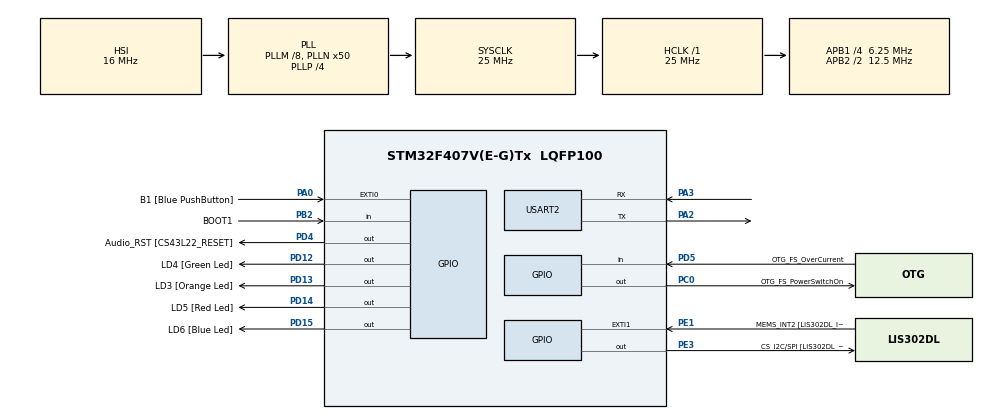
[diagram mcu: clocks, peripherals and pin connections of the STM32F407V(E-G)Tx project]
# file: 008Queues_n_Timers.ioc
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Mcu.Family=STM32F4
Mcu.Name=STM32F407V(E-G)Tx
Mcu.Package=LQFP100
NVIC.PriorityGroup=NVIC_PRIORITYGROUP_4
NVIC.TIM6_DAC_IRQn=true\:0\:0\:false\:false\:true\:false\:true\:true
NVIC.TimeBase=TIM6_DAC_IRQn
NVIC.TimeBaseIP=TIM6
NVIC.USART2_IRQn=true\:6\:0\:true\:false\:true\:true\:true\:true
PA0-WKUP.GPIO_Label=B1 [Blue PushButton]
PA0-WKUP.Signal=GPXTI0
PA10.GPIO_Label=OTG_FS_ID
PA10.GPIO_Mode=GPIO_MODE_AF_PP
PA10.GPIO_PuPd=GPIO_NOPULL
PA10.GPIO_Speed=GPIO_SPEED_FREQ_LOW
PA10.Signal=USB_OTG_FS_ID
PA11.GPIO_Label=OTG_FS_DM
PA11.GPIO_Mode=GPIO_MODE_AF_PP
PA11.GPIO_PuPd=GPIO_NOPULL
PA11.GPIO_Speed=GPIO_SPEED_FREQ_LOW
PA11.Signal=USB_OTG_FS_DM
PA12.GPIO_Label=OTG_FS_DP
PA12.GPIO_Mode=GPIO_MODE_AF_PP
PA12.GPIO_PuPd=GPIO_NOPULL
PA12.GPIO_Speed=GPIO_SPEED_FREQ_LOW
PA12.Signal=USB_OTG_FS_DP
PA13.GPIO_Label=SWDIO
PA13.Signal=SYS_JTMS-SWDIO
PA14.GPIO_Label=SWCLK
PA14.Signal=SYS_JTCK-SWCLK
PA2.Mode=Asynchronous
PA2.Signal=USART2_TX
PA3.Mode=Asynchronous
PA3.Signal=USART2_RX
PA4.GPIO_Label=I2S3_WS [CS43L22_LRCK]
PA4.GPIO_Mode=GPIO_MODE_AF_PP
PA4.GPIO_PuPd=GPIO_NOPULL
PA4.GPIO_Speed=GPIO_SPEED_FREQ_LOW
PA4.Signal=I2S3_WS
PA5.GPIO_Label=SPI1_SCK [LIS302DL_SCL/SPC]
PA5.GPIO_Mode=GPIO_MODE_AF_PP
PA5.GPIO_PuPd=GPIO_NOPULL
PA5.GPIO_Speed=GPIO_SPEED_FREQ_LOW
PA5.Signal=SPI1_SCK
PA6.GPIO_Label=SPI1_MISO [LIS302DL_SDO]
PA6.GPIO_Mode=GPIO_MODE_AF_PP
PA6.GPIO_PuPd=GPIO_NOPULL
PA6.GPIO_Speed=GPIO_SPEED_FREQ_LOW
PA6.Signal=SPI1_MISO
PA7.GPIO_Label=SPI1_MOSI [LIS302DL_SDA/SDI/SDO]
PA7.GPIO_Mode=GPIO_MODE_AF_PP
PA7.GPIO_PuPd=GPIO_NOPULL
PA7.GPIO_Speed=GPIO_SPEED_FREQ_LOW
PA7.Signal=SPI1_MOSI
PA9.GPIO_Label=VBUS_FS
PA9.GPIO_Mode=GPIO_MODE_INPUT
PA9.GPIO_PuPd=GPIO_NOPULL
PA9.Signal=USB_OTG_FS_VBUS
PB10.GPIO_Label=CLK_IN [MP45DT02_CLK]
PB10.GPIO_Mode=GPIO_MODE_AF_PP
PB10.GPIO_PuPd=GPIO_NOPULL
PB10.GPIO_Speed=GPIO_SPEED_FREQ_LOW
PB10.Signal=I2S2_CK
PB2.GPIO_Label=BOOT1
PB2.GPIO_Mode=GPIO_MODE_INPUT
PB2.GPIO_PuPd=GPIO_NOPULL
PB2.Signal=GPIO_Input
PB3.GPIO_Label=SWO
PB3.Signal=SYS_JTDO-SWO
PB6.GPIO_Label=Audio_SCL [CS43L22_SCL]
PB6.GPIO_Mode=GPIO_MODE_AF_OD
PB6.GPIO_PuPd=GPIO_NOPULL
PB6.GPIO_Speed=GPIO_SPEED_FREQ_LOW
PB6.Signal=I2C1_SCL
PB9.GPIO_Label=Audio_SDA [CS43L22_SDA]
PB9.GPIO_Mode=GPIO_MODE_AF_OD
PB9.GPIO_PuPd=GPIO_NOPULL
PB9.GPIO_Speed=GPIO_SPEED_FREQ_LOW
PB9.Signal=I2C1_SDA
PC0.GPIO_Label=OTG_FS_PowerSwitchOn
PC0.GPIO_PuPd=GPIO_NOPULL
PC0.GPIO_Speed=GPIO_SPEED_FREQ_LOW
PC0.PinState=GPIO_PIN_SET
PC0.Signal=GPIO_Output
PC10.GPIO_Label=I2S3_SCK [CS43L22_SCLK]
PC10.GPIO_Mode=GPIO_MODE_AF_PP
PC10.GPIO_PuPd=GPIO_NOPULL
PC10.GPIO_Speed=GPIO_SPEED_FREQ_LOW
PC10.Signal=I2S3_CK
PC12.GPIO_Label=I2S3_SD [CS43L22_SDIN]
PC12.GPIO_Mode=GPIO_MODE_AF_PP
PC12.GPIO_PuPd=GPIO_NOPULL
PC12.GPIO_Speed=GPIO_SPEED_FREQ_LOW
PC12.Signal=I2S3_SD
PC14-OSC32_IN.GPIO_Label=PC14-OSC32_IN
PC14-OSC32_IN.Signal=RCC_OSC32_IN
PC15-OSC32_OUT.GPIO_Label=PC15-OSC32_OUT
PC15-OSC32_OUT.Signal=RCC_OSC32_OUT
PC3.GPIO_Label=PDM_OUT [MP45DT02_DOUT]
PC3.GPIO_Mode=GPIO_MODE_AF_PP
PC3.GPIO_PuPd=GPIO_NOPULL
PC3.GPIO_Speed=GPIO_SPEED_FREQ_LOW
PC3.Signal=I2S2_SD
PC7.GPIO_Label=I2S3_MCK [CS43L22_MCLK]
PC7.GPIO_Mode=GPIO_MODE_AF_PP
PC7.GPIO_PuPd=GPIO_NOPULL
PC7.GPIO_Speed=GPIO_SPEED_FREQ_LOW
PC7.Signal=I2S3_MCK
PD12.GPIO_Label=LD4 [Green Led]
PD12.GPIO_PuPd=GPIO_NOPULL
PD12.GPIO_Speed=GPIO_SPEED_FREQ_LOW
PD12.Signal=GPIO_Output
PD13.GPIO_Label=LD3 [Orange Led]
PD13.GPIO_PuPd=GPIO_NOPULL
PD13.GPIO_Speed=GPIO_SPEED_FREQ_LOW
PD13.Signal=GPIO_Output
PD14.GPIO_Label=LD5 [Red Led]
PD14.GPIO_PuPd=GPIO_NOPULL
PD14.GPIO_Speed=GPIO_SPEED_FREQ_LOW
PD14.Signal=GPIO_Output
PD15.GPIO_Label=LD6 [Blue Led]
PD15.GPIO_PuPd=GPIO_NOPULL
PD15.GPIO_Speed=GPIO_SPEED_FREQ_LOW
PD15.Signal=GPIO_Output
PD4.GPIO_Label=Audio_RST [CS43L22_RESET]
PD4.GPIO_PuPd=GPIO_NOPULL
PD4.GPIO_Speed=GPIO_SPEED_FREQ_LOW
PD4.Signal=GPIO_Output
PD5.GPIO_Label=OTG_FS_OverCurrent
PD5.GPIO_Mode=GPIO_MODE_INPUT
PD5.GPIO_PuPd=GPIO_NOPULL
PD5.Signal=GPIO_Input
PE1.GPIO_Label=MEMS_INT2 [LIS302DL_INT2]
PE1.GPIO_ModeDefaultEXTI=GPIO_MODE_EVT_RISING
PE1.GPIO_PuPd=GPIO_NOPULL
PE1.Signal=GPXTI1
PE3.GPIO_Label=CS_I2C/SPI [LIS302DL_CS_I2C/SPI]
PE3.GPIO_PuPd=GPIO_NOPULL
PE3.GPIO_Speed=GPIO_SPEED_FREQ_LOW
PE3.Signal=GPIO_Output
PH0-OSC_IN.GPIO_Label=PH0-OSC_IN
PH0-OSC_IN.Signal=RCC_OSC_IN
PH1-OSC_OUT.GPIO_Label=PH1-OSC_OUT
PH1-OSC_OUT.Signal=RCC_OSC_OUT
ProjectManager.HeapSize=0x200
ProjectManager.StackSize=0x400
ProjectManager.TargetToolchain=STM32CubeIDE
RCC.48MHZClocksFreq_Value=14285714.285714285
RCC.AHBFreq_Value=25000000
RCC.APB1CLKDivider=RCC_HCLK_DIV4
RCC.APB1Freq_Value=6250000
RCC.APB1TimFreq_Value=12500000
RCC.APB2CLKDivider=RCC_HCLK_DIV2
RCC.APB2Freq_Value=12500000
RCC.APB2TimFreq_Value=25000000
RCC.CortexFreq_Value=25000000
RCC.HCLKFreq_Value=25000000
RCC.HSE_VALUE=8000000
RCC.HSI_VALUE=16000000
RCC.LSE_VALUE=32768
RCC.PLLM=8
RCC.PLLN=50
RCC.PLLP=RCC_PLLP_DIV4
RCC.PLLQ=7
RCC.SYSCLKFreq_VALUE=25000000
RCC.SYSCLKSource=RCC_SYSCLKSOURCE_PLLCLK
RCC.VCOOutputFreq_Value=100000000
RTC.HourFormat=RTC_HOURFORMAT_12
USART2.VirtualMode=VM_ASYNC
VP_RTC_VS_RTC_Activate.Mode=RTC_Enabled
VP_SYS_VS_tim6.Mode=TIM6
board=STM32F407G-DISC1

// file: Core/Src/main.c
/* USER CODE BEGIN Header */
/**
  ******************************************************************************
  * @file           : main.c
  * @brief          : Main program body
  ******************************************************************************
  * @attention
  *
  * Copyright (c) 2024 STMicroelectronics.
  * All rights reserved.
  *
  * This software is licensed under terms that can be found in the LICENSE file
  * in the root directory of this software component.
  * If no LICENSE file comes with this software, it is provided AS-IS.
  *
  ******************************************************************************
  */
/* USER CODE END Header */
#include "main.h"

RTC_HandleTypeDef hrtc;

UART_HandleTypeDef huart2;

/* USER CODE BEGIN PV */
BaseType_t status;

xTaskHandle handle_menu_task;
xTaskHandle handle_led_task;
xTaskHandle handle_rtc_task;
xTaskHandle handle_cmd_task;
xTaskHandle handle_print_task;

//Timer handlers for 4 led tasks
TimerHandle_t handle_led_timer[4];

TimerHandle_t rtc_timer;

QueueHandle_t q_data;
QueueHandle_t q_print;

volatile uint8_t user_data;

state_t curr_state = sMainMenu;

/* USER CODE END PV */

void SystemClock_Config(void);
static void MX_GPIO_Init(void);
static void MX_RTC_Init(void);
static void MX_USART2_UART_Init(void);

void rtc_report_callback(TimerHandle_t Timer);
void led_effect_callback(TimerHandle_t xTimer);

int main(void)
{

  /* MCU Configuration--------------------------------------------------------*/

  /* Reset of all peripherals, Initializes the Flash interface and the Systick. */
  HAL_Init();

  /* Configure the system clock */
  SystemClock_Config();

  /* Initialize all configured peripherals */
  MX_GPIO_Init();
  MX_RTC_Init();
  MX_USART2_UART_Init();
  /* USER CODE BEGIN 2 */

  status = xTaskCreate(menu_task, "menu_task", 250, NULL, 2, &handle_menu_task);

  configASSERT(status == pdPASS);

  status = xTaskCreate(led_task, "led_task", 250, NULL, 2, &handle_led_task);

  configASSERT(status == pdPASS);

  status = xTaskCreate(rtc_task, "rtc_task", 250, NULL, 2, &handle_rtc_task);

  configASSERT(status == pdPASS);

  status = xTaskCreate(cmd_handler_task, "cmd_task", 250, NULL, 2, &handle_cmd_task);

  configASSERT(status == pdPASS);

  status = xTaskCreate(print_task, "print_task", 250, NULL, 2, &handle_print_task);

  configASSERT(status == pdPASS);

  q_data = xQueueCreate (10, sizeof(char));

  configASSERT(q_data != NULL);

  q_print = xQueueCreate (10, sizeof(size_t));

  configASSERT(q_print != NULL);
// Create software timers for LED effects

  for(int i=0; i<4; i++)
  {
	  handle_led_timer[i] = xTimerCreate("led_timer", pdMS_TO_TICKS(500), pdTRUE, (void*)(i+1), led_effect_callback);
  }

  rtc_timer = xTimerCreate ("rtc_report_timer",pdMS_TO_TICKS(1000),pdTRUE,NULL,rtc_report_callback);
  HAL_UART_Receive_IT(&huart2, &user_data, 1);

  vTaskStartScheduler();

  /* USER CODE END 2 */

  /* Infinite loop */
  while (1)
  {

  }
}

void SystemClock_Config(void)
{
  RCC_OscInitTypeDef RCC_OscInitStruct = {0};
  RCC_ClkInitTypeDef RCC_ClkInitStruct = {0};

  /** Configure the main internal regulator output voltage
  */
  __HAL_RCC_PWR_CLK_ENABLE();
  __HAL_PWR_VOLTAGESCALING_CONFIG(PWR_REGULATOR_VOLTAGE_SCALE1);

  /** Initializes the RCC Oscillators according to the specified parameters
  * in the RCC_OscInitTypeDef structure.
  */
  RCC_OscInitStruct.OscillatorType = RCC_OSCILLATORTYPE_HSI|RCC_OSCILLATORTYPE_LSI;
  RCC_OscInitStruct.HSIState = RCC_HSI_ON;
  RCC_OscInitStruct.HSICalibrationValue = RCC_HSICALIBRATION_DEFAULT;
  RCC_OscInitStruct.LSIState = RCC_LSI_ON;
  RCC_OscInitStruct.PLL.PLLState = RCC_PLL_ON;
  RCC_OscInitStruct.PLL.PLLSource = RCC_PLLSOURCE_HSI;
  RCC_OscInitStruct.PLL.PLLM = 8;
  RCC_OscInitStruct.PLL.PLLN = 50;
  RCC_OscInitStruct.PLL.PLLP = RCC_PLLP_DIV4;
  RCC_OscInitStruct.PLL.PLLQ = 7;
  if (HAL_RCC_OscConfig(&RCC_OscInitStruct) != HAL_OK)
  {
    Error_Handler();
  }

  /** Initializes the CPU, AHB and APB buses clocks
  */
  RCC_ClkInitStruct.ClockType = RCC_CLOCKTYPE_HCLK|RCC_CLOCKTYPE_SYSCLK
                              |RCC_CLOCKTYPE_PCLK1|RCC_CLOCKTYPE_PCLK2;
  RCC_ClkInitStruct.SYSCLKSource = RCC_SYSCLKSOURCE_PLLCLK;
  RCC_ClkInitStruct.AHBCLKDivider = RCC_SYSCLK_DIV1;
  RCC_ClkInitStruct.APB1CLKDivider = RCC_HCLK_DIV4;
  RCC_ClkInitStruct.APB2CLKDivider = RCC_HCLK_DIV2;

  if (HAL_RCC_ClockConfig(&RCC_ClkInitStruct, FLASH_LATENCY_0) != HAL_OK)
  {
    Error_Handler();
  }
}

static void MX_RTC_Init(void)
{

  /** Initialize RTC Only
  */
  hrtc.Instance = RTC;
  hrtc.Init.HourFormat = RTC_HOURFORMAT_12;
  hrtc.Init.AsynchPrediv = 127;
  hrtc.Init.SynchPrediv = 255;
  hrtc.Init.OutPut = RTC_OUTPUT_DISABLE;
  hrtc.Init.OutPutPolarity = RTC_OUTPUT_POLARITY_HIGH;
  hrtc.Init.OutPutType = RTC_OUTPUT_TYPE_OPENDRAIN;
  if (HAL_RTC_Init(&hrtc) != HAL_OK)
  {
    Error_Handler();
  }

}

static void MX_USART2_UART_Init(void)
{

  huart2.Instance = USART2;
  huart2.Init.BaudRate = 115200;
  huart2.Init.WordLength = UART_WORDLENGTH_8B;
  huart2.Init.StopBits = UART_STOPBITS_1;
  huart2.Init.Parity = UART_PARITY_NONE;
  huart2.Init.Mode = UART_MODE_TX_RX;
  huart2.Init.HwFlowCtl = UART_HWCONTROL_NONE;
  huart2.Init.OverSampling = UART_OVERSAMPLING_16;
  if (HAL_UART_Init(&huart2) != HAL_OK)
  {
    Error_Handler();
  }

}

static void MX_GPIO_Init(void)
{
  GPIO_InitTypeDef GPIO_InitStruct = {0};

  /* GPIO Ports Clock Enable */
  __HAL_RCC_GPIOE_CLK_ENABLE();
  __HAL_RCC_GPIOC_CLK_ENABLE();
  __HAL_RCC_GPIOH_CLK_ENABLE();
  __HAL_RCC_GPIOA_CLK_ENABLE();
  __HAL_RCC_GPIOB_CLK_ENABLE();
  __HAL_RCC_GPIOD_CLK_ENABLE();

  /*Configure GPIO pin Output Level */
  HAL_GPIO_WritePin(CS_I2C_SPI_GPIO_Port, CS_I2C_SPI_Pin, GPIO_PIN_RESET);

  /*Configure GPIO pin Output Level */
  HAL_GPIO_WritePin(OTG_FS_PowerSwitchOn_GPIO_Port, OTG_FS_PowerSwitchOn_Pin, GPIO_PIN_SET);

  /*Configure GPIO pin Output Level */
  HAL_GPIO_WritePin(GPIOD, LD4_Pin|LD3_Pin|LD5_Pin|LD6_Pin
                          |Audio_RST_Pin, GPIO_PIN_RESET);

  /*Configure GPIO pin : CS_I2C_SPI_Pin */
  GPIO_InitStruct.Pin = CS_I2C_SPI_Pin;
  GPIO_InitStruct.Mode = GPIO_MODE_OUTPUT_PP;
  GPIO_InitStruct.Pull = GPIO_NOPULL;
  GPIO_InitStruct.Speed = GPIO_SPEED_FREQ_LOW;
  HAL_GPIO_Init(CS_I2C_SPI_GPIO_Port, &GPIO_InitStruct);

  /*Configure GPIO pin : OTG_FS_PowerSwitchOn_Pin */
  GPIO_InitStruct.Pin = OTG_FS_PowerSwitchOn_Pin;
  GPIO_InitStruct.Mode = GPIO_MODE_OUTPUT_PP;
  GPIO_InitStruct.Pull = GPIO_NOPULL;
  GPIO_InitStruct.Speed = GPIO_SPEED_FREQ_LOW;
  HAL_GPIO_Init(OTG_FS_PowerSwitchOn_GPIO_Port, &GPIO_InitStruct);

  /*Configure GPIO pin : PDM_OUT_Pin */
  GPIO_InitStruct.Pin = PDM_OUT_Pin;
  GPIO_InitStruct.Mode = GPIO_MODE_AF_PP;
  GPIO_InitStruct.Pull = GPIO_NOPULL;
  GPIO_InitStruct.Speed = GPIO_SPEED_FREQ_LOW;
  GPIO_InitStruct.Alternate = GPIO_AF5_SPI2;
  HAL_GPIO_Init(PDM_OUT_GPIO_Port, &GPIO_InitStruct);

  /*Configure GPIO pin : B1_Pin */
  GPIO_InitStruct.Pin = B1_Pin;
  GPIO_InitStruct.Mode = GPIO_MODE_IT_RISING;
  GPIO_InitStruct.Pull = GPIO_NOPULL;
  HAL_GPIO_Init(B1_GPIO_Port, &GPIO_InitStruct);

  /*Configure GPIO pin : I2S3_WS_Pin */
  GPIO_InitStruct.Pin = I2S3_WS_Pin;
  GPIO_InitStruct.Mode = GPIO_MODE_AF_PP;
  GPIO_InitStruct.Pull = GPIO_NOPULL;
  GPIO_InitStruct.Speed = GPIO_SPEED_FREQ_LOW;
  GPIO_InitStruct.Alternate = GPIO_AF6_SPI3;
  HAL_GPIO_Init(I2S3_WS_GPIO_Port, &GPIO_InitStruct);

  /*Configure GPIO pins : SPI1_SCK_Pin SPI1_MISO_Pin SPI1_MOSI_Pin */
  GPIO_InitStruct.Pin = SPI1_SCK_Pin|SPI1_MISO_Pin|SPI1_MOSI_Pin;
  GPIO_InitStruct.Mode = GPIO_MODE_AF_PP;
  GPIO_InitStruct.Pull = GPIO_NOPULL;
  GPIO_InitStruct.Speed = GPIO_SPEED_FREQ_LOW;
  GPIO_InitStruct.Alternate = GPIO_AF5_SPI1;
  HAL_GPIO_Init(GPIOA, &GPIO_InitStruct);

  /*Configure GPIO pin : BOOT1_Pin */
  GPIO_InitStruct.Pin = BOOT1_Pin;
  GPIO_InitStruct.Mode = GPIO_MODE_INPUT;
  GPIO_InitStruct.Pull = GPIO_NOPULL;
  HAL_GPIO_Init(BOOT1_GPIO_Port, &GPIO_InitStruct);

  /*Configure GPIO pin : CLK_IN_Pin */
  GPIO_InitStruct.Pin = CLK_IN_Pin;
  GPIO_InitStruct.Mode = GPIO_MODE_AF_PP;
  GPIO_InitStruct.Pull = GPIO_NOPULL;
  GPIO_InitStruct.Speed = GPIO_SPEED_FREQ_LOW;
  GPIO_InitStruct.Alternate = GPIO_AF5_SPI2;
  HAL_GPIO_Init(CLK_IN_GPIO_Port, &GPIO_InitStruct);

  /*Configure GPIO pins : LD4_Pin LD3_Pin LD5_Pin LD6_Pin
                           Audio_RST_Pin */
  GPIO_InitStruct.Pin = LD4_Pin|LD3_Pin|LD5_Pin|LD6_Pin
                          |Audio_RST_Pin;
  GPIO_InitStruct.Mode = GPIO_MODE_OUTPUT_PP;
  GPIO_InitStruct.Pull = GPIO_NOPULL;
  GPIO_InitStruct.Speed = GPIO_SPEED_FREQ_LOW;
  HAL_GPIO_Init(GPIOD, &GPIO_InitStruct);

  /*Configure GPIO pins : I2S3_MCK_Pin I2S3_SCK_Pin I2S3_SD_Pin */
  GPIO_InitStruct.Pin = I2S3_MCK_Pin|I2S3_SCK_Pin|I2S3_SD_Pin;
  GPIO_InitStruct.Mode = GPIO_MODE_AF_PP;
  GPIO_InitStruct.Pull = GPIO_NOPULL;
  GPIO_InitStruct.Speed = GPIO_SPEED_FREQ_LOW;
  GPIO_InitStruct.Alternate = GPIO_AF6_SPI3;
  HAL_GPIO_Init(GPIOC, &GPIO_InitStruct);

  /*Configure GPIO pin : VBUS_FS_Pin */
  GPIO_InitStruct.Pin = VBUS_FS_Pin;
  GPIO_InitStruct.Mode = GPIO_MODE_INPUT;
  GPIO_InitStruct.Pull = GPIO_NOPULL;
  HAL_GPIO_Init(VBUS_FS_GPIO_Port, &GPIO_InitStruct);

  /*Configure GPIO pins : OTG_FS_ID_Pin OTG_FS_DM_Pin OTG_FS_DP_Pin */
  GPIO_InitStruct.Pin = OTG_FS_ID_Pin|OTG_FS_DM_Pin|OTG_FS_DP_Pin;
  GPIO_InitStruct.Mode = GPIO_MODE_AF_PP;
  GPIO_InitStruct.Pull = GPIO_NOPULL;
  GPIO_InitStruct.Speed = GPIO_SPEED_FREQ_LOW;
  GPIO_InitStruct.Alternate = GPIO_AF10_OTG_FS;
  HAL_GPIO_Init(GPIOA, &GPIO_InitStruct);

  /*Configure GPIO pin : OTG_FS_OverCurrent_Pin */
  GPIO_InitStruct.Pin = OTG_FS_OverCurrent_Pin;
  GPIO_InitStruct.Mode = GPIO_MODE_INPUT;
  GPIO_InitStruct.Pull = GPIO_NOPULL;
  HAL_GPIO_Init(OTG_FS_OverCurrent_GPIO_Port, &GPIO_InitStruct);

  /*Configure GPIO pins : Audio_SCL_Pin Audio_SDA_Pin */
  GPIO_InitStruct.Pin = Audio_SCL_Pin|Audio_SDA_Pin;
  GPIO_InitStruct.Mode = GPIO_MODE_AF_OD;
  GPIO_InitStruct.Pull = GPIO_NOPULL;
  GPIO_InitStruct.Speed = GPIO_SPEED_FREQ_LOW;
  GPIO_InitStruct.Alternate = GPIO_AF4_I2C1;
  HAL_GPIO_Init(GPIOB, &GPIO_InitStruct);

  /*Configure GPIO pin : MEMS_INT2_Pin */
  GPIO_InitStruct.Pin = MEMS_INT2_Pin;
  GPIO_InitStruct.Mode = GPIO_MODE_EVT_RISING;
  GPIO_InitStruct.Pull = GPIO_NOPULL;
  HAL_GPIO_Init(MEMS_INT2_GPIO_Port, &GPIO_InitStruct);

}

/* USER CODE BEGIN 4 */

void rtc_report_callback(TimerHandle_t Timer)
{
	show_time_date_itm();
}

void led_effect_callback(TimerHandle_t xTimer)
{
	printf("LED");
	int id;
	id = (uint32_t) pvTimerGetTimerID(xTimer);
	switch(id)
	{
	case 1:
		LED_effect1();

		break;
	case 2:
		LED_effect2();
		break;
	case 3:
		LED_effect3();
		break;
	case 4:
		LED_effect4();
		break;
	}
}

void HAL_UART_RxCpltCallback(UART_HandleTypeDef *huart)
{

	uint8_t dummy;

	for(uint32_t i=0; i < 4000; i++);

	if(! xQueueIsQueueFullFromISR(q_data))
	{
		/*Queue is not full */

		/*TODO: Enqueue data byte */

		xQueueSendFromISR(q_data, (void*)&user_data, NULL);

	}else{
		/*Queue is full */

		if(user_data == '\n')
		{
			/*user_data = '\n' */
			xQueueReceiveFromISR(q_data, (void *)&dummy, NULL);
			xQueueSendFromISR(q_data, (void*)&user_data, NULL);

			/*TODO: make sure that last data byte of the queue is '\n' */
		}
	}
	if(user_data == '\n')
	{
		/*TODO: send notification to command handling task if user_data = '\n' */
		xTaskNotifyFromISR(handle_cmd_task, 0, eNoAction, NULL);
	}

	/* TODO: Enable UART data byte reception again in IT mode */
	HAL_UART_Receive_IT(&huart2, &user_data, 1);

}

/* USER CODE END 4 */

void HAL_TIM_PeriodElapsedCallback(TIM_HandleTypeDef *htim)
{
  if (htim->Instance == TIM6) {
    HAL_IncTick();
  }
}

void Error_Handler(void)
{
  __disable_irq();
  while (1)
  {
  }
}
